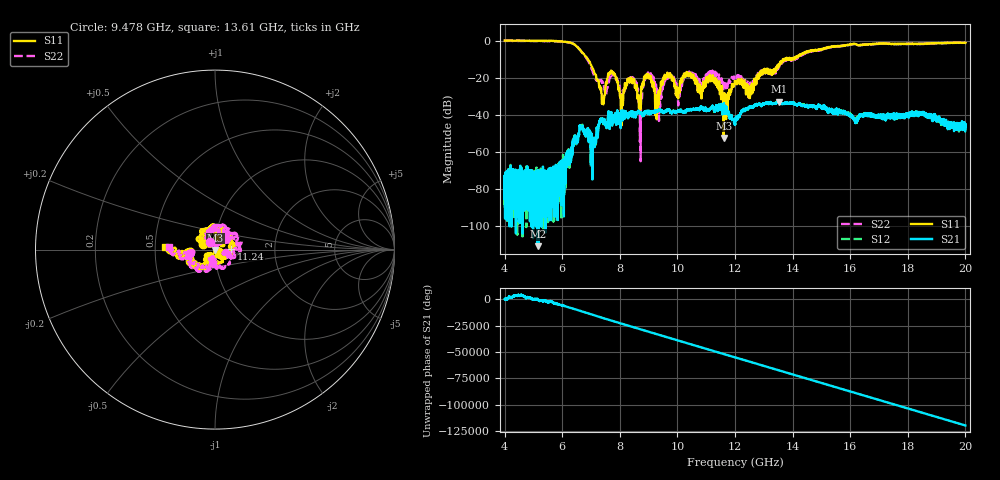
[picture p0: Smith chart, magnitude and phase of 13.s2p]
[Version] 2.0
! Rohde & Schwarz Vector Network Analyzer
! Rohde-Schwarz,ZNL20-2Port,1323001220200009,1.71.1.10-23.02.1.238
! Port Assignments:
! Nominal Port -> Actual Test Port
!  1 -> 1
!  2 -> 2
! Created: GMT+2 2025-01-17 12:10:59
# Hz S RI R 50
[Number of Ports] 2
[Two-Port Data Order] 21_12
! freq[Hz]  S11[Re]  S11[Im]  S21[Re]  S21[Im]  S12[Re]  S12[Im]  S22[Re]  S22[Im]
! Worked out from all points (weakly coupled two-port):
!   16001 points, 4 GHz to 20 GHz, reference 50 ohm
!   highest |S21| = -33.01 dB at 13.52 GHz (marker M1); lowest = -111.1 dB at 5.176 GHz (marker M2)
!   lowest |S11| = -52.6 dB at 11.61 GHz (marker M3), VSWR 1.00, Z = 50.1 - j0.2 ohm
!   |S11| at or under -10 dB: 6.882 GHz to 13.7 GHz (6.818 GHz wide, 66.3 % of centre); 13.71217 GHz to 13.74181 GHz (29.64 MHz wide, 0.216 % of centre); 13.94203 GHz to 13.96584 GHz (23.82 MHz wide, 0.171 % of centre) (the widest 3 of 9)
!   |S22| runs from -65.2 to 0.0 dB; largest |S21 - S12| = 0.0031
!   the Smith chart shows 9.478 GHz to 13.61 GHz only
!   S11 on the Smith chart (normalised r, x): 9.478 GHz: 0.87, +0.06; 11.24 GHz: 1.19, +0.01; 13.61 GHz: 0.57, +0.02
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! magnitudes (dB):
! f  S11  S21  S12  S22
! 4 GHz  0.0  -74.5  -75.0  -0.2
! 5.176 GHz  -0.1  -111.1  -76.8  -0.3
! 5.788 GHz  -0.2  -75.6  -78.1  -0.4
! 6.667 GHz  -6.0  -46.5  -46.1  -6.1
! 7.067 GHz  -15.2  -53.7  -54.4  -17.1
! 7.408 GHz  -31.5  -42.9  -42.6  -22.9
! 7.72 GHz  -16.8  -41.4  -41.3  -18.9
! 8.051 GHz  -42.0  -38.8  -38.5  -32.7
! 8.428 GHz  -22.9  -40.2  -40.2  -21.5
! 8.715 GHz  -35.5  -38.8  -39.0  -39.2
! 9.004 GHz  -20.4  -38.4  -38.4  -18.7
! 9.334 GHz  -27.8  -38.0  -37.9  -30.9
! 9.478 GHz  -22.6  -38.4  -38.4  -26.4
! 11.24 GHz  -21.1  -35.7  -35.6  -18.2
! 11.61 GHz  -52.6  -34.1  -34.0  -25.2
! 12 GHz  -21.9  -45.6  -45.5  -19.0
! 12.54 GHz  -24.7  -36.1  -36.2  -23.3
! 13.52 GHz  -13.3  -33.0  -33.1  -13.6
! 13.61 GHz  -11.1  -34.0  -34.1  -11.9
! 14.67 GHz  -5.4  -35.3  -35.3  -5.9
! 17.33 GHz  -1.7  -41.2  -41.2  -1.8
! 20 GHz  -1.2  -45.3  -45.9  -1.2
